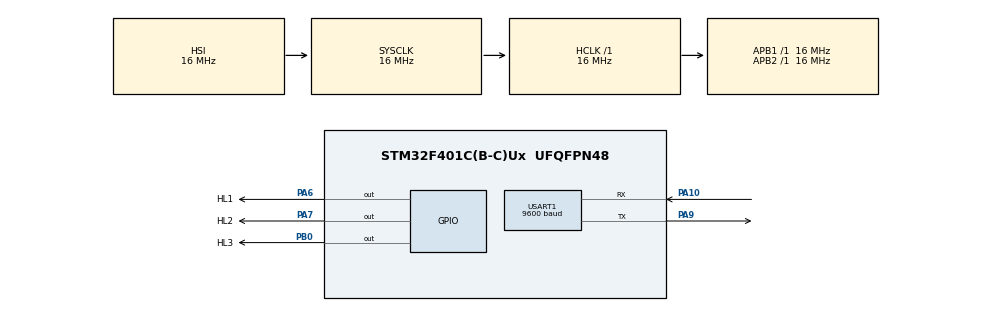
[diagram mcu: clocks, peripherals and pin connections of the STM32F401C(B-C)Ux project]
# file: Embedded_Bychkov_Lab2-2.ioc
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Mcu.Family=STM32F4
Mcu.Name=STM32F401C(B-C)Ux
Mcu.Package=UFQFPN48
NVIC.PriorityGroup=NVIC_PRIORITYGROUP_4
NVIC.USART1_IRQn=true\:0\:0\:false\:false\:true\:true\:true\:true
PA10.Mode=Asynchronous
PA10.Signal=USART1_RX
PA13.Mode=Serial_Wire
PA13.Signal=SYS_JTMS-SWDIO
PA14.Mode=Serial_Wire
PA14.Signal=SYS_JTCK-SWCLK
PA6.GPIO_Label=HL1
PA6.Signal=GPIO_Output
PA7.GPIO_Label=HL2
PA7.Signal=GPIO_Output
PA9.Mode=Asynchronous
PA9.Signal=USART1_TX
PB0.GPIO_Label=HL3
PB0.Signal=GPIO_Output
ProjectManager.HeapSize=0x200
ProjectManager.StackSize=0x400
ProjectManager.TargetToolchain=STM32CubeIDE
RCC.AHBFreq_Value=16000000
RCC.APB1Freq_Value=16000000
RCC.APB2Freq_Value=16000000
RCC.CortexFreq_Value=16000000
RCC.HSE_VALUE=25000000
RCC.HSI_VALUE=16000000
RCC.LSE_VALUE=32768
RCC.SYSCLKFreq_VALUE=16000000
RCC.VCOOutputFreq_Value=192000000
USART1.BaudRate=9600
USART1.VirtualMode=VM_ASYNC
board=custom

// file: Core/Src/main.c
/* USER CODE BEGIN Header */
/**
  ******************************************************************************
  * @file           : main.c
  * @brief          : Main program body
  ******************************************************************************
  * @attention
  *
  * Copyright (c) 2023 STMicroelectronics.
  * All rights reserved.
  *
  * This software is licensed under terms that can be found in the LICENSE file
  * in the root directory of this software component.
  * If no LICENSE file comes with this software, it is provided AS-IS.
  *
  ******************************************************************************
  */
/* USER CODE END Header */
#include "main.h"

/* USER CODE BEGIN Includes */
#include "ringbuffer.h"
/* USER CODE END Includes */

 UART_HandleTypeDef huart1;

/* USER CODE BEGIN PV */
 uint8_t rx1[1] = {'\0',};
 uint8_t tx1[1] = {'\0',};
 RingBuffer txBuf;
/* USER CODE END PV */

void SystemClock_Config(void);
static void MX_GPIO_Init(void);
static void MX_USART1_UART_Init(void);

int main(void)
{

  /* MCU Configuration--------------------------------------------------------*/

  /* Reset of all peripherals, Initializes the Flash interface and the Systick. */
  HAL_Init();

  /* Configure the system clock */
  SystemClock_Config();

  /* Initialize all configured peripherals */
  MX_GPIO_Init();
  MX_USART1_UART_Init();

  /* Infinite loop */
  /* USER CODE BEGIN WHILE */
  HAL_UART_Receive_IT(&huart1, rx1, sizeof(rx1));
  while (1)
  {
    /* USER CODE END WHILE */

    /* USER CODE BEGIN 3 */
	if(huart1.RxState == HAL_UART_STATE_READY)
	{
		HAL_UART_Receive_IT(&huart1, rx1, sizeof(rx1));
	}
  }
  /* USER CODE END 3 */
}

void SystemClock_Config(void)
{
  RCC_OscInitTypeDef RCC_OscInitStruct = {0};
  RCC_ClkInitTypeDef RCC_ClkInitStruct = {0};

  /** Configure the main internal regulator output voltage
  */
  __HAL_RCC_PWR_CLK_ENABLE();
  __HAL_PWR_VOLTAGESCALING_CONFIG(PWR_REGULATOR_VOLTAGE_SCALE2);

  /** Initializes the RCC Oscillators according to the specified parameters
  * in the RCC_OscInitTypeDef structure.
  */
  RCC_OscInitStruct.OscillatorType = RCC_OSCILLATORTYPE_HSI;
  RCC_OscInitStruct.HSIState = RCC_HSI_ON;
  RCC_OscInitStruct.HSICalibrationValue = RCC_HSICALIBRATION_DEFAULT;
  RCC_OscInitStruct.PLL.PLLState = RCC_PLL_NONE;
  if (HAL_RCC_OscConfig(&RCC_OscInitStruct) != HAL_OK)
  {
    Error_Handler();
  }

  /** Initializes the CPU, AHB and APB buses clocks
  */
  RCC_ClkInitStruct.ClockType = RCC_CLOCKTYPE_HCLK|RCC_CLOCKTYPE_SYSCLK
                              |RCC_CLOCKTYPE_PCLK1|RCC_CLOCKTYPE_PCLK2;
  RCC_ClkInitStruct.SYSCLKSource = RCC_SYSCLKSOURCE_HSI;
  RCC_ClkInitStruct.AHBCLKDivider = RCC_SYSCLK_DIV1;
  RCC_ClkInitStruct.APB1CLKDivider = RCC_HCLK_DIV1;
  RCC_ClkInitStruct.APB2CLKDivider = RCC_HCLK_DIV1;

  if (HAL_RCC_ClockConfig(&RCC_ClkInitStruct, FLASH_LATENCY_0) != HAL_OK)
  {
    Error_Handler();
  }
}

static void MX_USART1_UART_Init(void)
{

  huart1.Instance = USART1;
  huart1.Init.BaudRate = 9600;
  huart1.Init.WordLength = UART_WORDLENGTH_8B;
  huart1.Init.StopBits = UART_STOPBITS_1;
  huart1.Init.Parity = UART_PARITY_NONE;
  huart1.Init.Mode = UART_MODE_TX_RX;
  huart1.Init.HwFlowCtl = UART_HWCONTROL_NONE;
  huart1.Init.OverSampling = UART_OVERSAMPLING_16;
  if (HAL_UART_Init(&huart1) != HAL_OK)
  {
    Error_Handler();
  }

}

static void MX_GPIO_Init(void)
{
  GPIO_InitTypeDef GPIO_InitStruct = {0};

  /* GPIO Ports Clock Enable */
  __HAL_RCC_GPIOA_CLK_ENABLE();
  __HAL_RCC_GPIOB_CLK_ENABLE();

  /*Configure GPIO pin Output Level */
  HAL_GPIO_WritePin(GPIOA, HL1_Pin|HL2_Pin, GPIO_PIN_RESET);

  /*Configure GPIO pin Output Level */
  HAL_GPIO_WritePin(HL3_GPIO_Port, HL3_Pin, GPIO_PIN_RESET);

  /*Configure GPIO pins : HL1_Pin HL2_Pin */
  GPIO_InitStruct.Pin = HL1_Pin|HL2_Pin;
  GPIO_InitStruct.Mode = GPIO_MODE_OUTPUT_PP;
  GPIO_InitStruct.Pull = GPIO_NOPULL;
  GPIO_InitStruct.Speed = GPIO_SPEED_FREQ_LOW;
  HAL_GPIO_Init(GPIOA, &GPIO_InitStruct);

  /*Configure GPIO pin : HL3_Pin */
  GPIO_InitStruct.Pin = HL3_Pin;
  GPIO_InitStruct.Mode = GPIO_MODE_OUTPUT_PP;
  GPIO_InitStruct.Pull = GPIO_NOPULL;
  GPIO_InitStruct.Speed = GPIO_SPEED_FREQ_LOW;
  HAL_GPIO_Init(HL3_GPIO_Port, &GPIO_InitStruct);

}

/* USER CODE BEGIN 4 */
void HAL_UART_TxCpltCallback(UART_HandleTypeDef *huart)
{
	if(huart == &huart1)
	{
		tx1[0] = '\0';

		if(RingBuffer_GetDataLength(&txBuf) > 0)
		{
			RingBuffer_Read(&txBuf, tx1, 1);
			HAL_UART_Transmit_IT(huart, tx1, 1);
		}
	}
}

void HAL_UART_RxCpltCallback(UART_HandleTypeDef *huart)
{
	if(huart == &huart1)
	{
		tx1[0] = rx1[0];

		if(HAL_UART_Transmit_IT(&huart1, tx1, sizeof(tx1)) != HAL_OK)
		{
			if(RingBuffer_Write(&txBuf, tx1, sizeof(tx1)) != RING_BUFFER_OK)
			{

			}
		}
		if(rx1[0] == '1')
		{
			HAL_GPIO_TogglePin(HL1_GPIO_Port, HL1_Pin);
		}
		if(rx1[0] == '2')
		{
			HAL_GPIO_TogglePin(HL2_GPIO_Port, HL2_Pin);
		}
		if(rx1[0] == '3')
		{
			HAL_GPIO_TogglePin(HL3_GPIO_Port, HL3_Pin);
		}
		HAL_UART_Transmit_IT(&huart1, "\n\r", 2);
	}
	HAL_UART_Receive_IT(&huart1, rx1, sizeof(rx1));
}
/* USER CODE END 4 */

void Error_Handler(void)
{
  __disable_irq();
  while (1)
  {
  }
}
